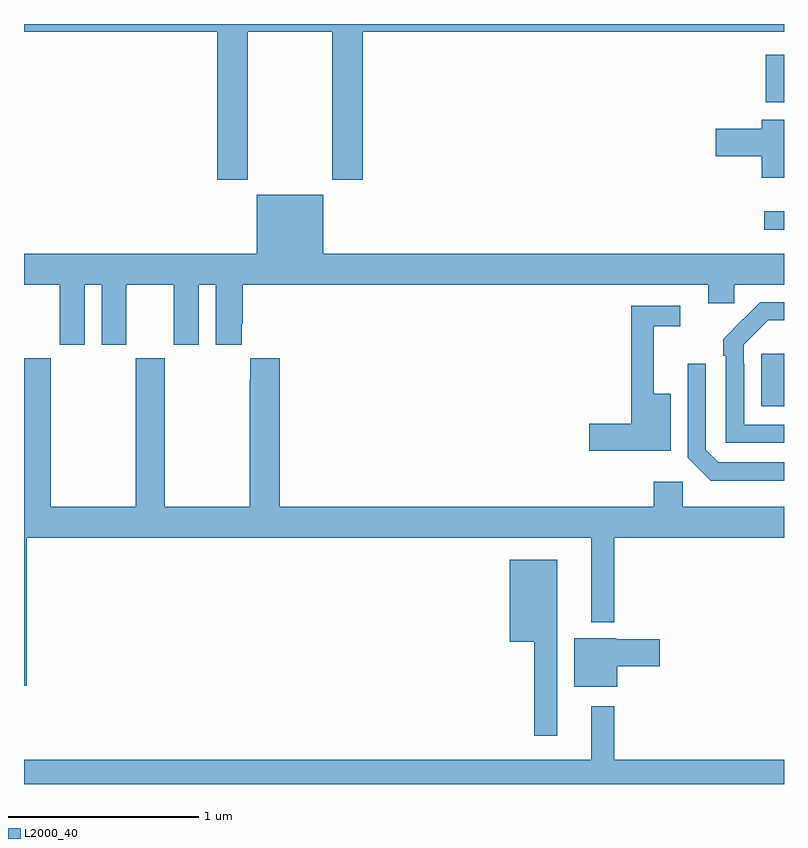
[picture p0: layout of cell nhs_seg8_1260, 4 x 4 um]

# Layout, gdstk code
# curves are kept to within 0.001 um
import gdstk
lib = gdstk.Library(unit=1e-6, precision=1e-09)
def R(c, l, rs):  # rectangles x0, y0, x1, y1
    for r in rs: c.add(gdstk.rectangle(r[:2], r[2:], *l))
def P(c, l, *ps):  # polygons
    for p in ps: c.add(gdstk.Polygon(p, *l))
L2000_40 = (2000, 40)

nhs_seg8_1260 = lib.new_cell('nhs_seg8_1260')
R(nhs_seg8_1260, L2000_40, [(194.879,1087.889,195,1088.164), (194.895,1088.817,195,1088.914), (194.905,1089.489,195,1089.739)])
P(nhs_seg8_1260, L2000_40, [(192.177,1089.86),(192.622,1089.86),(192.622,1089.081),(192.782,1089.081),(192.782,1089.86),(195,1089.86),(195,1089.9),(191,1089.9),(191,1089.86),(192.017,1089.86),(192.017,1089.081),(192.177,1089.081)],
  [(195,1089.397),(194.882,1089.397),(194.882,1089.35),(194.64,1089.35),(194.64,1089.203),(194.882,1089.203),(194.882,1089.092),(195,1089.092)],
  [(191.32,1088.528),(191.408,1088.528),(191.408,1088.211),(191.539,1088.211),(191.539,1088.528),(191.789,1088.528),(191.789,1088.211),(191.92,1088.211),(191.92,1088.528),(192.008,1088.528),(192.008,1088.211),(192.145,1088.211),(192.145,1088.323),(192.152,1088.323),(192.152,1088.528),(194.6,1088.528),(194.6,1088.43),(194.739,1088.43),(194.739,1088.528),(195,1088.528),(195,1088.692),(192.574,1088.692),(192.574,1089.001),(192.224,1089.001),(192.224,1088.692),(191,1088.692),(191,1088.528),(191.189,1088.528),(191.189,1088.211),(191.32,1088.211)],
  [(195,1087.791),(194.79,1087.791),(194.79,1088.111),(194.787,1088.111),(194.787,1088.211),(194.916,1088.34),(195,1088.34),(195,1088.436),(194.876,1088.436),(194.679,1088.241),(194.679,1088.153),(194.694,1088.153),(194.694,1087.695),(195,1087.695)],
  [(194.404,1087.954),(194.315,1087.954),(194.315,1088.31),(194.455,1088.31),(194.455,1088.418),(194.197,1088.418),(194.197,1087.796),(193.974,1087.796),(193.974,1087.654),(194.404,1087.654)],
  [(191.015,1087.196),(193.985,1087.196),(193.985,1086.752),(194.107,1086.752),(194.107,1087.196),(195,1087.196),(195,1087.36),(194.466,1087.36),(194.466,1087.492),(194.315,1087.492),(194.315,1087.36),(192.347,1087.36),(192.347,1088.14),(192.191,1088.14),(192.191,1088.027),(192.187,1088.027),(192.187,1087.36),(191.742,1087.36),(191.742,1088.14),(191.587,1088.14),(191.587,1087.36),(191.142,1087.36),(191.142,1088.14),(191,1088.14),(191,1086.417),(191.015,1086.417)],
  [(195,1087.593),(194.655,1087.593),(194.589,1087.659),(194.589,1088.113),(194.493,1088.113),(194.493,1087.617),(194.614,1087.496),(195,1087.496)],
  [(193.807,1087.081),(193.556,1087.081),(193.556,1086.65),(193.686,1086.65),(193.686,1086.153),(193.807,1086.153)],
  [(194.122,1086.52),(194.347,1086.52),(194.347,1086.662),(194.118,1086.662),(194.118,1086.667),(193.895,1086.667),(193.895,1086.413),(194.122,1086.413)],
  [(195,1086.028),(194.107,1086.028),(194.107,1086.31),(193.985,1086.31),(193.985,1086.028),(191,1086.028),(191,1085.9),(195,1085.9)])

lib.write_gds('nhs_seg8_1260.gds')
